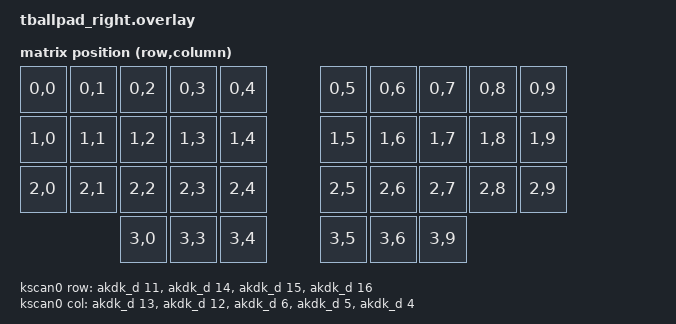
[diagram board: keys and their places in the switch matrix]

#include <dt-bindings/zmk/matrix_transform.h>
#include <input/processors.dtsi>
#include <dt-bindings/zmk/input_transform.h>
#include "layouts.dtsi"

/ {
    chosen {
        zmk,physical-layout = &physical_layout0;
    };

    default_transform: keymap_transform_0 {
        compatible = "zmk,matrix-transform";
        columns = <10>;
        rows = <4>;
        map = <
            RC(0,0) RC(0,1) RC(0,2) RC(0,3) RC(0,4) RC(0,5) RC(0,6) RC(0,7) RC(0,8) RC(0,9)
			RC(1,0) RC(1,1) RC(1,2) RC(1,3) RC(1,4) RC(1,5) RC(1,6) RC(1,7) RC(1,8) RC(1,9)
			RC(2,0) RC(2,1) RC(2,2) RC(2,3) RC(2,4) RC(2,5) RC(2,6) RC(2,7) RC(2,8) RC(2,9)
			RC(3,0) RC(3,3) RC(3,4) RC(3,5) RC(3,6) RC(3,9)
        >;
		col-offset = <5>;
    };

    kscan0: kscan {
        compatible = "zmk,kscan-gpio-matrix";
        wakeup-source;

        diode-direction = "col2row";
        row-gpios
            = <&akdk_d 11 (GPIO_ACTIVE_HIGH | GPIO_PULL_DOWN)>
			,<&akdk_d 14 (GPIO_ACTIVE_HIGH | GPIO_PULL_DOWN)>
			,<&akdk_d 15 (GPIO_ACTIVE_HIGH | GPIO_PULL_DOWN)>
			,<&akdk_d 16 (GPIO_ACTIVE_HIGH | GPIO_PULL_DOWN)>
            ;
        col-gpios
            = <&akdk_d 13 GPIO_ACTIVE_HIGH>
			,<&akdk_d 12 GPIO_ACTIVE_HIGH>
			,<&akdk_d 6 GPIO_ACTIVE_HIGH>
			,<&akdk_d 5 GPIO_ACTIVE_HIGH>
			,<&akdk_d 4 GPIO_ACTIVE_HIGH>
            ;
    };

    trackball_listener: trackball_listener {
        compatible = "zmk,input-listener";
        device = <&trackball>;
        input-processors = <&zip_xy_transform (INPUT_TRANSFORM_X_INVERT | INPUT_TRANSFORM_Y_INVERT)>;
    };

    split_inputs {
        #address-cells = <1>;
        #size-cells = <0>;
        trackpad_split: trackpad_split@0 {
            compatible = "zmk,input-split";
            reg = <0>;
        };
    };
    trackpad_split_listener: trackpad_split_listener {
        compatible = "zmk,input-listener";
        device = <&trackpad_split>;   
        status = "okay";
    };
};

&physical_layout0 {
    kscan = <&kscan0>;
    transform = <&default_transform>;
};

&pinctrl {
    spi0_default: spi0_default {
        group1 {
            psels = <NRF_PSEL(SPIM_SCK, 0, 12)>,
                <NRF_PSEL(SPIM_MOSI, 1, 9)>,
                <NRF_PSEL(SPIM_MISO, 1, 9)>;
        };
    };

    spi0_sleep: spi0_sleep {
        group1 {
            psels = <NRF_PSEL(SPIM_SCK, 0, 12)>,
                <NRF_PSEL(SPIM_MOSI, 1, 9)>,
                <NRF_PSEL(SPIM_MISO, 1, 9)>;
            low-power-enable;
        };
    };
};

&spi0 {
    status = "okay";
    compatible = "nordic,nrf-spim";
    pinctrl-0 = <&spi0_default>;
    pinctrl-1 = <&spi0_sleep>;
    pinctrl-names = "default", "sleep";
    cs-gpios = <&gpio0 13 GPIO_ACTIVE_LOW>;

    trackball: trackball@0 {
        status = "okay";
        compatible = "pixart,paw3222";
        reg = <0>;
        spi-max-frequency = <2000000>;
        irq-gpios = <&gpio0 15 GPIO_ACTIVE_LOW>;
    };
};

